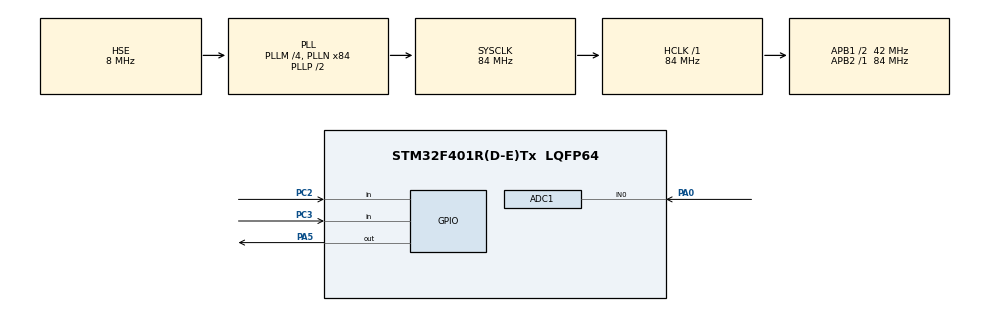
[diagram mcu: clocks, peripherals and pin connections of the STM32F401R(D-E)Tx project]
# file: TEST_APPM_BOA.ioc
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ADC1.Channel-0\#ChannelRegularConversion=ADC_CHANNEL_0
ADC1.NbrOfConversionFlag=1
ADC1.Rank-0\#ChannelRegularConversion=1
ADC1.SamplingTime-0\#ChannelRegularConversion=ADC_SAMPLETIME_3CYCLES
ADC1.master=1
Mcu.Family=STM32F4
Mcu.Name=STM32F401R(D-E)Tx
Mcu.Package=LQFP64
NVIC.PriorityGroup=NVIC_PRIORITYGROUP_4
NVIC.TIM2_IRQn=true\:0\:0\:false\:false\:true\:true\:true
PA0-WKUP.Signal=ADCx_IN0
PA5.Signal=GPIO_Output
PC2.Signal=GPIO_Input
PC3.GPIO_PuPd=GPIO_PULLDOWN
PC3.Signal=GPIO_Input
PH0\ -\ OSC_IN.Mode=HSE-External-Oscillator
PH0\ -\ OSC_IN.Signal=RCC_OSC_IN
PH1\ -\ OSC_OUT.Mode=HSE-External-Oscillator
PH1\ -\ OSC_OUT.Signal=RCC_OSC_OUT
ProjectManager.HeapSize=0x200
ProjectManager.StackSize=0x400
ProjectManager.TargetToolchain=STM32CubeIDE
RCC.48MHZClocksFreq_Value=42000000
RCC.AHBFreq_Value=84000000
RCC.APB1CLKDivider=RCC_HCLK_DIV2
RCC.APB1Freq_Value=42000000
RCC.APB1TimFreq_Value=84000000
RCC.APB2Freq_Value=84000000
RCC.APB2TimFreq_Value=84000000
RCC.CortexFreq_Value=84000000
RCC.HCLKFreq_Value=84000000
RCC.HSE_VALUE=8000000
RCC.HSI_VALUE=16000000
RCC.LSE_VALUE=32768
RCC.PLLM=4
RCC.PLLN=84
RCC.PLLSourceVirtual=RCC_PLLSOURCE_HSE
RCC.SYSCLKFreq_VALUE=84000000
RCC.SYSCLKSource=RCC_SYSCLKSOURCE_PLLCLK
RCC.VCOOutputFreq_Value=168000000
SH.ADCx_IN0.0=ADC1_IN0,IN0
TIM2.AutoReloadPreload=TIM_AUTORELOAD_PRELOAD_ENABLE
TIM2.Period=840
TIM2.Prescaler=1000
TIM3.Prescaler=8400
VP_TIM2_VS_ClockSourceINT.Mode=Internal
VP_TIM3_VS_ClockSourceINT.Mode=Internal
board=custom

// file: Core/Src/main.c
/* USER CODE BEGIN Header */
/**
  ******************************************************************************
  * @file           : main.c
  * @brief          : Main program body
  ******************************************************************************
  * @attention
  *
  * <h2><center>&copy; Copyright (c) 2021 STMicroelectronics.
  * All rights reserved.</center></h2>
  *
  * This software component is licensed by ST under BSD 3-Clause license,
  * the "License"; You may not use this file except in compliance with the
  * License. You may obtain a copy of the License at:
  *                        opensource.org/licenses/BSD-3-Clause
  *
  ******************************************************************************
  */
/* USER CODE END Header */
#include "main.h"

ADC_HandleTypeDef hadc1;

TIM_HandleTypeDef htim2;
TIM_HandleTypeDef htim3;

void SystemClock_Config(void);
static void MX_GPIO_Init(void);
static void MX_ADC1_Init(void);
static void MX_TIM2_Init(void);
static void MX_TIM3_Init(void);

/* USER CODE BEGIN 0 */
long tim_val, tim_val_1_step;
/* USER CODE END 0 */

int main(void)
{

  /* MCU Configuration--------------------------------------------------------*/

  /* Reset of all peripherals, Initializes the Flash interface and the Systick. */
  HAL_Init();

  /* Configure the system clock */
  SystemClock_Config();

  /* Initialize all configured peripherals */
  MX_GPIO_Init();
  MX_ADC1_Init();
  MX_TIM2_Init();
  MX_TIM3_Init();
  /* USER CODE BEGIN 2 */
  HAL_TIM_Base_Start_IT(&htim2);
  HAL_TIM_Base_Start_IT(&htim3);
  APPM_BOA2_initialize();
  /* USER CODE END 2 */

  /* Infinite loop */
  while (1)
  {

  }
}

void SystemClock_Config(void)
{
  RCC_OscInitTypeDef RCC_OscInitStruct = {0};
  RCC_ClkInitTypeDef RCC_ClkInitStruct = {0};

  /** Configure the main internal regulator output voltage
  */
  __HAL_RCC_PWR_CLK_ENABLE();
  __HAL_PWR_VOLTAGESCALING_CONFIG(PWR_REGULATOR_VOLTAGE_SCALE2);
  /** Initializes the RCC Oscillators according to the specified parameters
  * in the RCC_OscInitTypeDef structure.
  */
  RCC_OscInitStruct.OscillatorType = RCC_OSCILLATORTYPE_HSE;
  RCC_OscInitStruct.HSEState = RCC_HSE_ON;
  RCC_OscInitStruct.PLL.PLLState = RCC_PLL_ON;
  RCC_OscInitStruct.PLL.PLLSource = RCC_PLLSOURCE_HSE;
  RCC_OscInitStruct.PLL.PLLM = 4;
  RCC_OscInitStruct.PLL.PLLN = 84;
  RCC_OscInitStruct.PLL.PLLP = RCC_PLLP_DIV2;
  RCC_OscInitStruct.PLL.PLLQ = 4;
  if (HAL_RCC_OscConfig(&RCC_OscInitStruct) != HAL_OK)
  {
    Error_Handler();
  }
  /** Initializes the CPU, AHB and APB buses clocks
  */
  RCC_ClkInitStruct.ClockType = RCC_CLOCKTYPE_HCLK|RCC_CLOCKTYPE_SYSCLK
                              |RCC_CLOCKTYPE_PCLK1|RCC_CLOCKTYPE_PCLK2;
  RCC_ClkInitStruct.SYSCLKSource = RCC_SYSCLKSOURCE_PLLCLK;
  RCC_ClkInitStruct.AHBCLKDivider = RCC_SYSCLK_DIV1;
  RCC_ClkInitStruct.APB1CLKDivider = RCC_HCLK_DIV2;
  RCC_ClkInitStruct.APB2CLKDivider = RCC_HCLK_DIV1;

  if (HAL_RCC_ClockConfig(&RCC_ClkInitStruct, FLASH_LATENCY_2) != HAL_OK)
  {
    Error_Handler();
  }
}

static void MX_ADC1_Init(void)
{

  ADC_ChannelConfTypeDef sConfig = {0};

  /** Configure the global features of the ADC (Clock, Resolution, Data Alignment and number of conversion)
  */
  hadc1.Instance = ADC1;
  hadc1.Init.ClockPrescaler = ADC_CLOCK_SYNC_PCLK_DIV4;
  hadc1.Init.Resolution = ADC_RESOLUTION_12B;
  hadc1.Init.ScanConvMode = DISABLE;
  hadc1.Init.ContinuousConvMode = DISABLE;
  hadc1.Init.DiscontinuousConvMode = DISABLE;
  hadc1.Init.ExternalTrigConvEdge = ADC_EXTERNALTRIGCONVEDGE_NONE;
  hadc1.Init.ExternalTrigConv = ADC_SOFTWARE_START;
  hadc1.Init.DataAlign = ADC_DATAALIGN_RIGHT;
  hadc1.Init.NbrOfConversion = 1;
  hadc1.Init.DMAContinuousRequests = DISABLE;
  hadc1.Init.EOCSelection = ADC_EOC_SINGLE_CONV;
  if (HAL_ADC_Init(&hadc1) != HAL_OK)
  {
    Error_Handler();
  }
  /** Configure for the selected ADC regular channel its corresponding rank in the sequencer and its sample time.
  */
  sConfig.Channel = ADC_CHANNEL_0;
  sConfig.Rank = 1;
  sConfig.SamplingTime = ADC_SAMPLETIME_3CYCLES;
  if (HAL_ADC_ConfigChannel(&hadc1, &sConfig) != HAL_OK)
  {
    Error_Handler();
  }

}

static void MX_TIM2_Init(void)
{

  TIM_ClockConfigTypeDef sClockSourceConfig = {0};
  TIM_MasterConfigTypeDef sMasterConfig = {0};

  htim2.Instance = TIM2;
  htim2.Init.Prescaler = 1000;
  htim2.Init.CounterMode = TIM_COUNTERMODE_UP;
  htim2.Init.Period = 840;
  htim2.Init.ClockDivision = TIM_CLOCKDIVISION_DIV1;
  htim2.Init.AutoReloadPreload = TIM_AUTORELOAD_PRELOAD_ENABLE;
  if (HAL_TIM_Base_Init(&htim2) != HAL_OK)
  {
    Error_Handler();
  }
  sClockSourceConfig.ClockSource = TIM_CLOCKSOURCE_INTERNAL;
  if (HAL_TIM_ConfigClockSource(&htim2, &sClockSourceConfig) != HAL_OK)
  {
    Error_Handler();
  }
  sMasterConfig.MasterOutputTrigger = TIM_TRGO_RESET;
  sMasterConfig.MasterSlaveMode = TIM_MASTERSLAVEMODE_DISABLE;
  if (HAL_TIMEx_MasterConfigSynchronization(&htim2, &sMasterConfig) != HAL_OK)
  {
    Error_Handler();
  }

}

static void MX_TIM3_Init(void)
{

  TIM_ClockConfigTypeDef sClockSourceConfig = {0};
  TIM_MasterConfigTypeDef sMasterConfig = {0};

  htim3.Instance = TIM3;
  htim3.Init.Prescaler = 8400;
  htim3.Init.CounterMode = TIM_COUNTERMODE_UP;
  htim3.Init.Period = 65535;
  htim3.Init.ClockDivision = TIM_CLOCKDIVISION_DIV1;
  htim3.Init.AutoReloadPreload = TIM_AUTORELOAD_PRELOAD_DISABLE;
  if (HAL_TIM_Base_Init(&htim3) != HAL_OK)
  {
    Error_Handler();
  }
  sClockSourceConfig.ClockSource = TIM_CLOCKSOURCE_INTERNAL;
  if (HAL_TIM_ConfigClockSource(&htim3, &sClockSourceConfig) != HAL_OK)
  {
    Error_Handler();
  }
  sMasterConfig.MasterOutputTrigger = TIM_TRGO_RESET;
  sMasterConfig.MasterSlaveMode = TIM_MASTERSLAVEMODE_DISABLE;
  if (HAL_TIMEx_MasterConfigSynchronization(&htim3, &sMasterConfig) != HAL_OK)
  {
    Error_Handler();
  }

}

static void MX_GPIO_Init(void)
{
  GPIO_InitTypeDef GPIO_InitStruct = {0};

  /* GPIO Ports Clock Enable */
  __HAL_RCC_GPIOH_CLK_ENABLE();
  __HAL_RCC_GPIOC_CLK_ENABLE();
  __HAL_RCC_GPIOA_CLK_ENABLE();

  /*Configure GPIO pin Output Level */
  HAL_GPIO_WritePin(GPIOA, GPIO_PIN_5, GPIO_PIN_RESET);

  /*Configure GPIO pin : PC2 */
  GPIO_InitStruct.Pin = GPIO_PIN_2;
  GPIO_InitStruct.Mode = GPIO_MODE_INPUT;
  GPIO_InitStruct.Pull = GPIO_NOPULL;
  HAL_GPIO_Init(GPIOC, &GPIO_InitStruct);

  /*Configure GPIO pin : PC3 */
  GPIO_InitStruct.Pin = GPIO_PIN_3;
  GPIO_InitStruct.Mode = GPIO_MODE_INPUT;
  GPIO_InitStruct.Pull = GPIO_PULLDOWN;
  HAL_GPIO_Init(GPIOC, &GPIO_InitStruct);

  /*Configure GPIO pin : PA5 */
  GPIO_InitStruct.Pin = GPIO_PIN_5;
  GPIO_InitStruct.Mode = GPIO_MODE_OUTPUT_PP;
  GPIO_InitStruct.Pull = GPIO_NOPULL;
  GPIO_InitStruct.Speed = GPIO_SPEED_FREQ_LOW;
  HAL_GPIO_Init(GPIOA, &GPIO_InitStruct);

}

/* USER CODE BEGIN 4 */
void HAL_TIM_PeriodElapsedCallback(TIM_HandleTypeDef *htim){
	if(htim == &htim2){
		HAL_ADC_Start(&hadc1);
	    HAL_ADC_PollForConversion(&hadc1,5);
	    APPM_BOA2_U.APP_R = HAL_ADC_GetValue(&hadc1);
	    APPM_BOA2_U.APP_R /= 4096;
		APPM_BOA2_U.Acc_switch=HAL_GPIO_ReadPin (GPIOC, GPIO_PIN_3);
		APPM_BOA2_U.Brake_switch=HAL_GPIO_ReadPin (GPIOC, GPIO_PIN_2);
		tim_val = __HAL_TIM_GET_COUNTER(&htim3);

		APPM_BOA2_step();

		tim_val_1_step = __HAL_TIM_GET_COUNTER(&htim3) - tim_val;
		if(APPM_BOA2_Y.CUT_PWR==1)
			 HAL_GPIO_WritePin(GPIOA, GPIO_PIN_5, GPIO_PIN_SET);
		else
			HAL_GPIO_WritePin(GPIOA, GPIO_PIN_5, GPIO_PIN_RESET);
	}
}
/* USER CODE END 4 */

void Error_Handler(void)
{
  __disable_irq();
  while (1)
  {
  }
}

/************************ (C) COPYRIGHT STMicroelectronics *****END OF FILE****/
